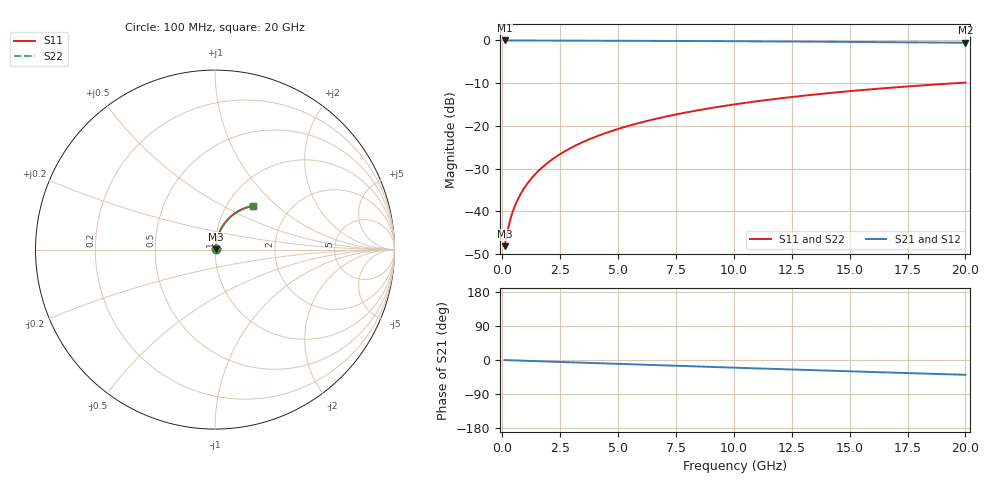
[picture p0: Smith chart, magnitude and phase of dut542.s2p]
! Touchstone file exported from HFSS 2026.1.0
!  File:  C:/ffzhzh/LocalFiles/Ansys_Project_Files/temp_train_TMRDL_542_1783007507_46388.aedt
!  Generated:  11:53:06 PM Jul  2, 2026
!  Design:  TMRDL
!  Project:  temp_train_TMRDL_542_1783007507_46388
! Variables:
!  h_bsmrdl = 2um
!  h_ox = 20um
!  h_rdl = 5um
!  h_sub = 80um
!  h_tmrdl = 2.42um
!  h_tsv = 80um
!  h_via = 3um
!  l_bsmrdl = 300um
!  l_sub = 975.43um
!  l_tmrdl = 575.43um
!  m_sub = 200um
!  pitch = 51.29um
!  r_tsv = 6um
!  s_tmrdl = 10um
!  w_bsmrdl = 18um
!  w_sub = 500um
!  w_tmrdl = 28.83um
!  x_tsv_center1 = 589.845um
!  x_tsv_center2 = 907.845um
!  x_tsv_center3 = 1512.105um
!  x_tsv_center4 = 1830.105um
!  x_tsv_center5 = 2434.365um
!  x_tsv_center6 = 2752.365um
# GHz S MA R 50.000000
! Terminal data exported
! Port[1] = TM_RDL1_1_T1
! Port[2] = TM_RDL1_1_T2
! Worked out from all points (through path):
!   200 points, 100 MHz to 20 GHz, reference 50 ohm
!   highest |S21| = -0.03 dB at 100 MHz (marker M1); lowest = -0.6 dB at 20 GHz (marker M2)
!   group delay of S21, straight-line fit = 5.43 ps
!   lowest |S11| = -48.1 dB at 100 MHz (marker M3), VSWR 1.01, Z = 50.3 + j0.214 ohm
!   |S11| at or under -10 dB: start of sweep to 19.65 GHz
!   |S22| runs from -48.1 to -9.9 dB; largest |S21 - S12| = 2.3e-15
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0.1  0.003914 32.9  0.9967 -0.2  0.9967 -0.2  0.003914 32.9
! Gamma 0 0 0 0
! Port Impedance 50 0 50 0
0.2  0.005435 50.5  0.9966 -0.4  0.9966 -0.4  0.005435 50.5
0.3  0.007193 59.2  0.9964 -0.7  0.9964 -0.7  0.007193 59.2
0.4  0.008989 64.2  0.9962 -0.9  0.9962 -0.9  0.008989 64.2
0.5  0.01078 67.4  0.996 -1.1  0.996 -1.1  0.01078 67.4
0.6  0.01255 69.7  0.9958 -1.3  0.9958 -1.3  0.01255 69.7
0.8  0.01609 72.8  0.9956 -1.7  0.9956 -1.7  0.01609 72.8
1.1  0.02143 75.6  0.9953 -2.3  0.9953 -2.3  0.02143 75.6
1.3  0.02502 76.8  0.9951 -2.7  0.9951 -2.7  0.02502 76.8
1.6  0.03042 77.9  0.9949 -3.3  0.9949 -3.3  0.03042 77.9
2.1  0.03949 78.7  0.9945 -4.3  0.9945 -4.3  0.03949 78.7
2.7  0.0504 78.9  0.9939 -5.6  0.9939 -5.6  0.0504 78.9
3.5  0.06493 78.3  0.9928 -7.2  0.9928 -7.2  0.06493 78.3
4.2  0.07759 77.5  0.9918 -8.6  0.9918 -8.6  0.07759 77.5
5  0.09194 76.4  0.9903 -10.2  0.9903 -10.2  0.09194 76.4
5.9  0.1079 74.9  0.9884 -12.1  0.9884 -12.1  0.1079 74.9
6.8  0.1237 73.4  0.9863 -13.9  0.9863 -13.9  0.1237 73.3
8.3  0.1495 70.6  0.9822 -16.9  0.9822 -16.9  0.1495 70.6
10.1  0.1794 67.3  0.9766 -20.4  0.9766 -20.4  0.1794 67.3
13.4  0.231 61.2  0.9647 -26.8  0.9647 -26.8  0.231 61.1
16.7  0.2782 55.1  0.9513 -33.0  0.9513 -33.0  0.2782 55.1
20  0.3205 49.3  0.9374 -39.0  0.9374 -39.0  0.3205 49.2
